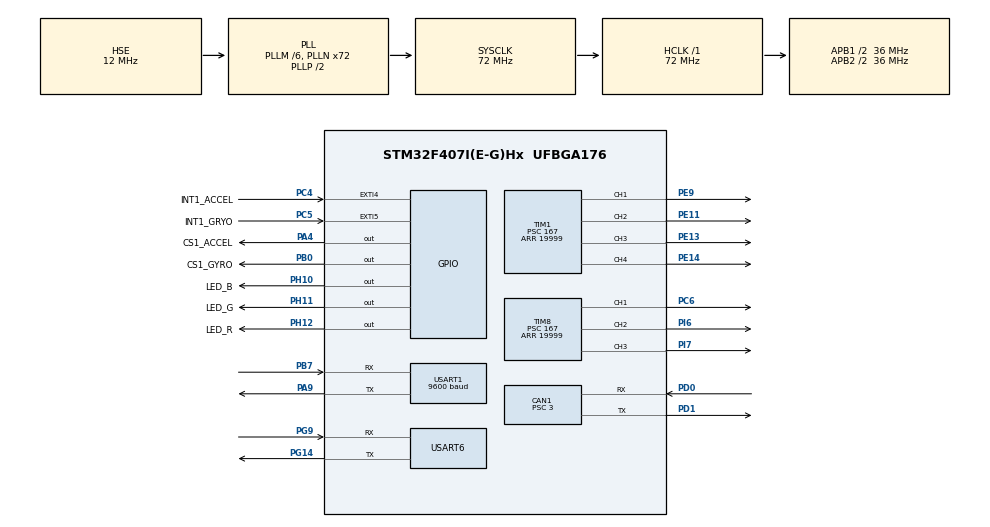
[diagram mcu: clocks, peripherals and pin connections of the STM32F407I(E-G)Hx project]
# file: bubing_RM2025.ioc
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CAN1.BS1=CAN_BS1_6TQ
CAN1.BS2=CAN_BS2_5TQ
CAN1.CalculateBaudRate=999999
CAN1.CalculateTimeBit=1000
CAN1.CalculateTimeQuantum=83.33333333333334
CAN1.Prescaler=3
Dma.Request0=USART6_TX
Dma.Request1=USART6_RX
Dma.Request2=USART1_RX
Dma.USART1_RX.2.Direction=DMA_PERIPH_TO_MEMORY
Dma.USART1_RX.2.FIFOMode=DMA_FIFOMODE_DISABLE
Dma.USART1_RX.2.Instance=DMA2_Stream2
Dma.USART1_RX.2.MemDataAlignment=DMA_MDATAALIGN_BYTE
Dma.USART1_RX.2.MemInc=DMA_MINC_ENABLE
Dma.USART1_RX.2.Mode=DMA_NORMAL
Dma.USART1_RX.2.PeriphDataAlignment=DMA_PDATAALIGN_BYTE
Dma.USART1_RX.2.PeriphInc=DMA_PINC_DISABLE
Dma.USART1_RX.2.Priority=DMA_PRIORITY_VERY_HIGH
Dma.USART6_RX.1.Direction=DMA_PERIPH_TO_MEMORY
Dma.USART6_RX.1.FIFOMode=DMA_FIFOMODE_DISABLE
Dma.USART6_RX.1.Instance=DMA2_Stream1
Dma.USART6_RX.1.MemDataAlignment=DMA_MDATAALIGN_BYTE
Dma.USART6_RX.1.MemInc=DMA_MINC_ENABLE
Dma.USART6_RX.1.Mode=DMA_CIRCULAR
Dma.USART6_RX.1.PeriphDataAlignment=DMA_PDATAALIGN_BYTE
Dma.USART6_RX.1.PeriphInc=DMA_PINC_DISABLE
Dma.USART6_RX.1.Priority=DMA_PRIORITY_MEDIUM
Dma.USART6_TX.0.Direction=DMA_MEMORY_TO_PERIPH
Dma.USART6_TX.0.FIFOMode=DMA_FIFOMODE_DISABLE
Dma.USART6_TX.0.Instance=DMA2_Stream6
Dma.USART6_TX.0.MemDataAlignment=DMA_MDATAALIGN_BYTE
Dma.USART6_TX.0.MemInc=DMA_MINC_ENABLE
Dma.USART6_TX.0.Mode=DMA_CIRCULAR
Dma.USART6_TX.0.PeriphDataAlignment=DMA_PDATAALIGN_BYTE
Dma.USART6_TX.0.PeriphInc=DMA_PINC_DISABLE
Dma.USART6_TX.0.Priority=DMA_PRIORITY_MEDIUM
FREERTOS.Tasks01=defaultTask,0,128,StartDefaultTask,Default,NULL,Dynamic,NULL,NULL;board_LED_task,-3,128,board_LED,As weak,NULL,Dynamic,NULL,NULL;uart_sent_test,-3,256,uart_sent,As weak,NULL,Dynamic,NULL,NULL;get_data_task,-3,128,get_data,As weak,NULL,Dynamic,NULL,NULL;can_sent_task,-3,128,can_sent,As weak,NULL,Dynamic,NULL,NULL;err_dec_task,-3,128,error_detection,As weak,NULL,Dynamic,NULL,NULL;chassisMotorTas,-3,128,chassis_motor_control,As weak,NULL,Dynamic,NULL,NULL;gimbalTask,-3,128,gimbal_motor_control,As weak,NULL,Dynamic,NULL,NULL;shoot_con_task,-3,128,shoot_control,As weak,NULL,Dynamic,NULL,NULL;referee,-3,128,refree_task,As weak,NULL,Dynamic,NULL,NULL;servo,-3,128,servo_task,As weak,NULL,Dynamic,NULL,NULL;imu_data,-3,128,IMU_DATA_GET,As weak,NULL,Dynamic,NULL,NULL
FREERTOS.configUSE_NEWLIB_REENTRANT=1
Mcu.Family=STM32F4
Mcu.Name=STM32F407I(E-G)Hx
Mcu.Package=UFBGA176
NVIC.CAN1_RX0_IRQn=true\:5\:0\:false\:false\:true\:true\:true\:true\:true
NVIC.DMA2_Stream1_IRQn=true\:5\:0\:false\:false\:true\:true\:false\:true\:true
NVIC.DMA2_Stream2_IRQn=true\:5\:0\:false\:false\:true\:true\:false\:true\:true
NVIC.DMA2_Stream6_IRQn=true\:5\:0\:false\:false\:true\:true\:false\:true\:true
NVIC.PriorityGroup=NVIC_PRIORITYGROUP_4
NVIC.TIM7_IRQn=true\:15\:0\:false\:false\:true\:false\:false\:true\:true
NVIC.TimeBase=TIM7_IRQn
NVIC.TimeBaseIP=TIM7
NVIC.USART1_IRQn=true\:5\:0\:false\:false\:true\:true\:true\:true\:true
NVIC.USART6_IRQn=true\:5\:0\:false\:false\:true\:true\:true\:true\:true
PA13.Mode=Serial_Wire
PA13.Signal=SYS_JTMS-SWDIO
PA14.Mode=Serial_Wire
PA14.Signal=SYS_JTCK-SWCLK
PA4.GPIO_Label=CS1_ACCEL
PA4.GPIO_PuPd=GPIO_PULLUP
PA4.GPIO_Speed=GPIO_SPEED_FREQ_HIGH
PA4.PinState=GPIO_PIN_SET
PA4.Signal=GPIO_Output
PA9.Mode=Asynchronous
PA9.Signal=USART1_TX
PB0.GPIO_Label=CS1_GYRO
PB0.GPIO_PuPd=GPIO_PULLUP
PB0.GPIO_Speed=GPIO_SPEED_FREQ_HIGH
PB0.PinState=GPIO_PIN_SET
PB0.Signal=GPIO_Output
PB7.Mode=Asynchronous
PB7.Signal=USART1_RX
PC4.GPIO_Label=INT1_ACCEL
PC4.GPIO_PuPd=GPIO_PULLUP
PC4.Signal=GPXTI4
PC5.GPIO_Label=INT1_GRYO
PC5.GPIO_PuPd=GPIO_PULLUP
PC5.Signal=GPXTI5
PC6.Signal=S_TIM8_CH1
PD0.Mode=CAN_Activate
PD0.Signal=CAN1_RX
PD1.Mode=CAN_Activate
PD1.Signal=CAN1_TX
PE11.Signal=S_TIM1_CH2
PE13.Signal=S_TIM1_CH3
PE14.Signal=S_TIM1_CH4
PE9.Signal=S_TIM1_CH1
PG14.Mode=Asynchronous
PG14.Signal=USART6_TX
PG9.Mode=Asynchronous
PG9.Signal=USART6_RX
PH0-OSC_IN.Mode=HSE-External-Oscillator
PH0-OSC_IN.Signal=RCC_OSC_IN
PH1-OSC_OUT.Mode=HSE-External-Oscillator
PH1-OSC_OUT.Signal=RCC_OSC_OUT
PH10.GPIO_Label=LED_B
PH10.Signal=GPIO_Output
PH11.GPIO_Label=LED_G
PH11.Signal=GPIO_Output
PH12.GPIO_Label=LED_R
PH12.Signal=GPIO_Output
PI6.Signal=S_TIM8_CH2
PI7.Signal=S_TIM8_CH3
ProjectManager.HeapSize=0x200
ProjectManager.StackSize=0x400
ProjectManager.TargetToolchain=STM32CubeIDE
RCC.48MHZClocksFreq_Value=36000000
RCC.AHBFreq_Value=72000000
RCC.APB1CLKDivider=RCC_HCLK_DIV2
RCC.APB1Freq_Value=36000000
RCC.APB1TimFreq_Value=72000000
RCC.APB2CLKDivider=RCC_HCLK_DIV2
RCC.APB2Freq_Value=36000000
RCC.APB2TimFreq_Value=72000000
RCC.CortexFreq_Value=72000000
RCC.HCLKFreq_Value=72000000
RCC.HSE_VALUE=12000000
RCC.HSI_VALUE=16000000
RCC.LSE_VALUE=32768
RCC.PLLM=6
RCC.PLLN=72
RCC.PLLSourceVirtual=RCC_PLLSOURCE_HSE
RCC.SYSCLKFreq_VALUE=72000000
RCC.SYSCLKSource=RCC_SYSCLKSOURCE_PLLCLK
RCC.VCOOutputFreq_Value=144000000
SH.S_TIM1_CH1.0=TIM1_CH1,PWM Generation1 CH1
SH.S_TIM1_CH2.0=TIM1_CH2,PWM Generation2 CH2
SH.S_TIM1_CH3.0=TIM1_CH3,PWM Generation3 CH3
SH.S_TIM1_CH4.0=TIM1_CH4,PWM Generation4 CH4
SH.S_TIM8_CH1.0=TIM8_CH1,PWM Generation1 CH1
SH.S_TIM8_CH2.0=TIM8_CH2,PWM Generation2 CH2
SH.S_TIM8_CH3.0=TIM8_CH3,PWM Generation3 CH3
TIM1.Channel-PWM\ Generation1\ CH1=TIM_CHANNEL_1
TIM1.Channel-PWM\ Generation2\ CH2=TIM_CHANNEL_2
TIM1.Channel-PWM\ Generation3\ CH3=TIM_CHANNEL_3
TIM1.Channel-PWM\ Generation4\ CH4=TIM_CHANNEL_4
TIM1.Period=19999
TIM1.Prescaler=167
TIM1.Pulse-PWM\ Generation1\ CH1=2000
TIM1.Pulse-PWM\ Generation2\ CH2=2000
TIM1.Pulse-PWM\ Generation3\ CH3=2000
TIM1.Pulse-PWM\ Generation4\ CH4=2000
TIM8.Channel-PWM\ Generation1\ CH1=TIM_CHANNEL_1
TIM8.Channel-PWM\ Generation2\ CH2=TIM_CHANNEL_2
TIM8.Channel-PWM\ Generation3\ CH3=TIM_CHANNEL_3
TIM8.Period=19999
TIM8.Prescaler=167
TIM8.Pulse-PWM\ Generation1\ CH1=2000
TIM8.Pulse-PWM\ Generation2\ CH2=2000
TIM8.Pulse-PWM\ Generation3\ CH3=2000
USART1.BaudRate=9600
USART1.VirtualMode=VM_ASYNC
USART6.VirtualMode=VM_ASYNC
VP_FREERTOS_VS_CMSIS_V1.Mode=CMSIS_V1
VP_SYS_VS_tim7.Mode=TIM7
VP_TIM1_VS_ClockSourceINT.Mode=Internal
VP_TIM8_VS_ClockSourceINT.Mode=Internal
board=custom

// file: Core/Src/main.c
/* USER CODE BEGIN Header */
/**
  ******************************************************************************
  * @file           : main.c
  * @brief          : Main program body
  ******************************************************************************
  * @attention
  *
  * Copyright (c) 2025 STMicroelectronics.
  * All rights reserved.
  *
  * This software is licensed under terms that can be found in the LICENSE file
  * in the root directory of this software component.
  * If no LICENSE file comes with this software, it is provided AS-IS.
  *
  ******************************************************************************
  */
/* USER CODE END Header */
#include "main.h"
#include "cmsis_os.h"
#include "can.h"
#include "dma.h"
#include "tim.h"
#include "usart.h"
#include "gpio.h"

/* USER CODE BEGIN Includes */
#include "Robstride.h"
#include <stdbool.h>
/* USER CODE END Includes */

void SystemClock_Config(void);
void MX_FREERTOS_Init(void);
/* USER CODE BEGIN PFP */
CAN_FilterTypeDef CAN_FilterStrue;
CAN_TxHeaderTypeDef CAN_TxHeaderStrue;
CAN_RxHeaderTypeDef CAN_RxHeaderStrue;
uint8_t pRxdata[8], pTxdata[8];
RobStride_Motor RobStride_01 = {0x7F, false};

uint8_t mode = 0;
/* USER CODE END PFP */

int main(void)
{

  /* MCU Configuration--------------------------------------------------------*/

  /* Reset of all peripherals, Initializes the Flash interface and the Systick. */
  HAL_Init();

  /* Configure the system clock */
  SystemClock_Config();

  /* Initialize all configured peripherals */
  MX_GPIO_Init();
  MX_DMA_Init();
  MX_USART6_UART_Init();
  MX_CAN1_Init();
  MX_USART1_UART_Init();
  MX_TIM1_Init();
  MX_TIM8_Init();
  /* USER CODE BEGIN 2 */
    CAN_FilterStrue.FilterBank = 0;
    CAN_FilterStrue.FilterMode = CAN_FILTERMODE_IDMASK;
    CAN_FilterStrue.FilterScale = CAN_FILTERSCALE_16BIT;
    CAN_FilterStrue.FilterIdHigh = 0;
    CAN_FilterStrue.FilterIdLow = 0;
    CAN_FilterStrue.FilterActivation = ENABLE;
    CAN_FilterStrue.FilterFIFOAssignment = CAN_RX_FIFO0;

    HAL_CAN_ConfigFilter(&hcan1, &CAN_FilterStrue);
    HAL_CAN_Start(&hcan1); //启动CAN
    HAL_CAN_ActivateNotification(&hcan1, CAN_IT_RX_FIFO0_MSG_PENDING);

  /* USER CODE END 2 */

  /* Call init function for freertos objects (in cmsis_os2.c) */
  MX_FREERTOS_Init();

  /* Start scheduler */
  osKernelStart();

  /* We should never get here as control is now taken by the scheduler */

  /* Infinite loop */
  while (1)
  {

  }
}

void SystemClock_Config(void)
{
  RCC_OscInitTypeDef RCC_OscInitStruct = {0};
  RCC_ClkInitTypeDef RCC_ClkInitStruct = {0};

  /** Configure the main internal regulator output voltage
  */
  __HAL_RCC_PWR_CLK_ENABLE();
  __HAL_PWR_VOLTAGESCALING_CONFIG(PWR_REGULATOR_VOLTAGE_SCALE1);

  /** Initializes the RCC Oscillators according to the specified parameters
  * in the RCC_OscInitTypeDef structure.
  */
  RCC_OscInitStruct.OscillatorType = RCC_OSCILLATORTYPE_HSE;
  RCC_OscInitStruct.HSEState = RCC_HSE_ON;
  RCC_OscInitStruct.PLL.PLLState = RCC_PLL_ON;
  RCC_OscInitStruct.PLL.PLLSource = RCC_PLLSOURCE_HSE;
  RCC_OscInitStruct.PLL.PLLM = 6;
  RCC_OscInitStruct.PLL.PLLN = 72;
  RCC_OscInitStruct.PLL.PLLP = RCC_PLLP_DIV2;
  RCC_OscInitStruct.PLL.PLLQ = 4;
  if (HAL_RCC_OscConfig(&RCC_OscInitStruct) != HAL_OK)
  {
    Error_Handler();
  }

  /** Initializes the CPU, AHB and APB buses clocks
  */
  RCC_ClkInitStruct.ClockType = RCC_CLOCKTYPE_HCLK|RCC_CLOCKTYPE_SYSCLK
                              |RCC_CLOCKTYPE_PCLK1|RCC_CLOCKTYPE_PCLK2;
  RCC_ClkInitStruct.SYSCLKSource = RCC_SYSCLKSOURCE_PLLCLK;
  RCC_ClkInitStruct.AHBCLKDivider = RCC_SYSCLK_DIV1;
  RCC_ClkInitStruct.APB1CLKDivider = RCC_HCLK_DIV2;
  RCC_ClkInitStruct.APB2CLKDivider = RCC_HCLK_DIV2;

  if (HAL_RCC_ClockConfig(&RCC_ClkInitStruct, FLASH_LATENCY_2) != HAL_OK)
  {
    Error_Handler();
  }
}

/* USER CODE BEGIN 4 */
/* USER CODE BEGIN 4 */
CAN_RxHeaderTypeDef RXHeader;
uint8_t RxData[8];
void HAL_CAN_RxFifo0MsgPendingCallback(CAN_HandleTypeDef *hcan)
{
    if(HAL_CAN_GetRxMessage(hcan,CAN_RX_FIFO0,&RXHeader,RxData) == HAL_OK)
    {
        if (RXHeader.IDE == CAN_ID_EXT)
        {
            RobStride_Motor_Analysis(&RobStride_01, RxData, RXHeader.ExtId);
        }
        else
        {
            RobStride_Motor_Analysis(&RobStride_01, RxData, RXHeader.StdId);
        }
    }
}
/* USER CODE END 4 */

void HAL_TIM_PeriodElapsedCallback(TIM_HandleTypeDef *htim)
{
  if (htim->Instance == TIM7) {
    HAL_IncTick();
  }
}

void Error_Handler(void)
{
  __disable_irq();
  while (1)
  {
  }
}

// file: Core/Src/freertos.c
/* USER CODE BEGIN Header */
/**
  ******************************************************************************
  * File Name          : freertos.c
  * Description        : Code for freertos applications
  ******************************************************************************
  * @attention
  *
  * Copyright (c) 2025 STMicroelectronics.
  * All rights reserved.
  *
  * This software is licensed under terms that can be found in the LICENSE file
  * in the root directory of this software component.
  * If no LICENSE file comes with this software, it is provided AS-IS.
  *
  ******************************************************************************
  */
/* USER CODE END Header */

#include "FreeRTOS.h"
#include "task.h"
#include "main.h"
#include "cmsis_os.h"

osThreadId defaultTaskHandle;
osThreadId board_LED_taskHandle;
osThreadId uart_sent_testHandle;
osThreadId get_data_taskHandle;
osThreadId can_sent_taskHandle;
osThreadId err_dec_taskHandle;
osThreadId chassisMotorTasHandle;
osThreadId gimbalTaskHandle;
osThreadId shoot_con_taskHandle;
osThreadId refereeHandle;
osThreadId servoHandle;
osThreadId imu_dataHandle;

void StartDefaultTask(void const * argument);
void board_LED(void const * argument);
void uart_sent(void const * argument);
void get_data(void const * argument);
void can_sent(void const * argument);
void error_detection(void const * argument);
void chassis_motor_control(void const * argument);
void gimbal_motor_control(void const * argument);
void shoot_control(void const * argument);
void refree_task(void const * argument);
void servo_task(void const * argument);
void IMU_DATA_GET(void const * argument);

void MX_FREERTOS_Init(void); /* (MISRA C 2004 rule 8.1) */

/* GetIdleTaskMemory prototype (linked to static allocation support) */
void vApplicationGetIdleTaskMemory( StaticTask_t **ppxIdleTaskTCBBuffer, StackType_t **ppxIdleTaskStackBuffer, uint32_t *pulIdleTaskStackSize );

/* USER CODE BEGIN GET_IDLE_TASK_MEMORY */
static StaticTask_t xIdleTaskTCBBuffer;
static StackType_t xIdleStack[configMINIMAL_STACK_SIZE];

void vApplicationGetIdleTaskMemory( StaticTask_t **ppxIdleTaskTCBBuffer, StackType_t **ppxIdleTaskStackBuffer, uint32_t *pulIdleTaskStackSize )
{
  *ppxIdleTaskTCBBuffer = &xIdleTaskTCBBuffer;
  *ppxIdleTaskStackBuffer = &xIdleStack[0];
  *pulIdleTaskStackSize = configMINIMAL_STACK_SIZE;
  /* place for user code */
}
/* USER CODE END GET_IDLE_TASK_MEMORY */

void MX_FREERTOS_Init(void) {

  /* Create the thread(s) */
  /* definition and creation of defaultTask */
  osThreadDef(defaultTask, StartDefaultTask, osPriorityNormal, 0, 128);
  defaultTaskHandle = osThreadCreate(osThread(defaultTask), NULL);

  /* definition and creation of board_LED_task */
  osThreadDef(board_LED_task, board_LED, osPriorityIdle, 0, 128);
  board_LED_taskHandle = osThreadCreate(osThread(board_LED_task), NULL);

  /* definition and creation of uart_sent_test */
  osThreadDef(uart_sent_test, uart_sent, osPriorityIdle, 0, 256);
  uart_sent_testHandle = osThreadCreate(osThread(uart_sent_test), NULL);

  /* definition and creation of get_data_task */
  osThreadDef(get_data_task, get_data, osPriorityIdle, 0, 128);
  get_data_taskHandle = osThreadCreate(osThread(get_data_task), NULL);

  /* definition and creation of can_sent_task */
  osThreadDef(can_sent_task, can_sent, osPriorityIdle, 0, 128);
  can_sent_taskHandle = osThreadCreate(osThread(can_sent_task), NULL);

  /* definition and creation of err_dec_task */
  osThreadDef(err_dec_task, error_detection, osPriorityIdle, 0, 128);
  err_dec_taskHandle = osThreadCreate(osThread(err_dec_task), NULL);

  /* definition and creation of chassisMotorTas */
  osThreadDef(chassisMotorTas, chassis_motor_control, osPriorityIdle, 0, 128);
  chassisMotorTasHandle = osThreadCreate(osThread(chassisMotorTas), NULL);

  /* definition and creation of gimbalTask */
  osThreadDef(gimbalTask, gimbal_motor_control, osPriorityIdle, 0, 128);
  gimbalTaskHandle = osThreadCreate(osThread(gimbalTask), NULL);

  /* definition and creation of shoot_con_task */
  osThreadDef(shoot_con_task, shoot_control, osPriorityIdle, 0, 128);
  shoot_con_taskHandle = osThreadCreate(osThread(shoot_con_task), NULL);

  /* definition and creation of referee */
  osThreadDef(referee, refree_task, osPriorityIdle, 0, 128);
  refereeHandle = osThreadCreate(osThread(referee), NULL);

  /* definition and creation of servo */
  osThreadDef(servo, servo_task, osPriorityIdle, 0, 128);
  servoHandle = osThreadCreate(osThread(servo), NULL);

  /* definition and creation of imu_data */
  osThreadDef(imu_data, IMU_DATA_GET, osPriorityIdle, 0, 128);
  imu_dataHandle = osThreadCreate(osThread(imu_data), NULL);

}

void StartDefaultTask(void const * argument)
{
  for(;;)
  {
    osDelay(1);
  }
}

__weak void board_LED(void const * argument)
{
  for(;;)
  {
    osDelay(1);
  }
}

__weak void uart_sent(void const * argument)
{
  for(;;)
  {
    osDelay(1);
  }
}

__weak void get_data(void const * argument)
{
  for(;;)
  {
    osDelay(1);
  }
}

__weak void can_sent(void const * argument)
{
  for(;;)
  {
    osDelay(1);
  }
}

__weak void error_detection(void const * argument)
{
  for(;;)
  {
    osDelay(1);
  }
}

__weak void chassis_motor_control(void const * argument)
{
  for(;;)
  {
    osDelay(1);
  }
}

__weak void gimbal_motor_control(void const * argument)
{
  for(;;)
  {
    osDelay(1);
  }
}

__weak void shoot_control(void const * argument)
{
  for(;;)
  {
    osDelay(1);
  }
}

__weak void refree_task(void const * argument)
{
  for(;;)
  {
    osDelay(1);
  }
}

__weak void servo_task(void const * argument)
{
  for(;;)
  {
    osDelay(1);
  }
}

__weak void IMU_DATA_GET(void const * argument)
{
  for(;;)
  {
    osDelay(1);
  }
}
